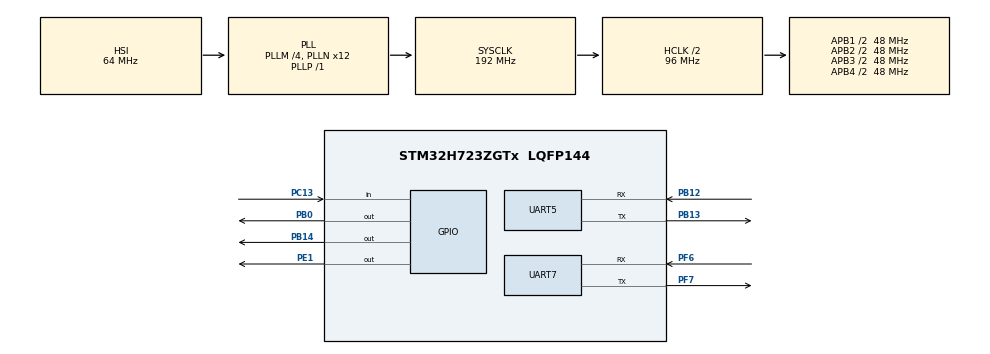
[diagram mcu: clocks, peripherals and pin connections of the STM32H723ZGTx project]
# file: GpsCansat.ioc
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CORTEX_M7.default_mode_Activation=1
Mcu.Family=STM32H7
Mcu.Name=STM32H723ZGTx
Mcu.Package=LQFP144
NUCLEO-H723ZG.BUTTON=1
NUCLEO-H723ZG.LD1=true
NUCLEO-H723ZG.LD2=true
NUCLEO-H723ZG.LD3=true
NUCLEO-H723ZG.VCP=true
NVIC.EXTI15_10_IRQn=true\:0\:0\:false\:false\:true\:false\:true\:true
NVIC.PriorityGroup=NVIC_PRIORITYGROUP_4
NVIC.UART7_IRQn=true\:0\:0\:false\:false\:true\:true\:true\:true
PA13(JTMS/SWDIO).GPIO_Label=SWDIO
PA13(JTMS/SWDIO).Signal=DEBUG_JTMS-SWDIO
PA14(JTCK/SWCLK).GPIO_Label=SWCLK
PA14(JTCK/SWCLK).Signal=DEBUG_JTCK-SWCLK
PB0.Signal=GPIO_Output
PB12.Mode=Asynchronous
PB12.Signal=UART5_RX
PB13.Mode=Asynchronous
PB13.Signal=UART5_TX
PB14.Signal=GPIO_Output
PC13.Signal=GPIO_Input
PC14-OSC32_IN.Signal=RCC_OSC32_IN
PC15-OSC32_OUT.Signal=RCC_OSC32_OUT
PD8.Signal=USART3_TX
PD9.Signal=USART3_RX
PE1.Signal=GPIO_Output
PF6.Mode=Asynchronous
PF6.Signal=UART7_RX
PF7.Mode=Asynchronous
PF7.Signal=UART7_TX
ProjectManager.HeapSize=0x200
ProjectManager.StackSize=0x400
ProjectManager.TargetToolchain=STM32CubeIDE
RCC.ADCFreq_Value=608000000
RCC.APB1Freq_Value=48000000
RCC.APB2Freq_Value=48000000
RCC.APB3Freq_Value=48000000
RCC.APB4Freq_Value=48000000
RCC.CortexFreq_Value=192000000
RCC.D1PPRE=RCC_APB3_DIV2
RCC.D2PPRE1=RCC_APB1_DIV2
RCC.D2PPRE2=RCC_APB2_DIV2
RCC.D3PPRE=RCC_APB4_DIV2
RCC.DIVM1=4
RCC.DIVM2=1
RCC.DIVN1=12
RCC.DIVN2=19
RCC.DIVP1=1
RCC.DIVQ1=4
RCC.HCLKFreq_Value=96000000
RCC.HPRE=RCC_HCLK_DIV2
RCC.HSE_VALUE=8000000
RCC.PLLFRACN=0
RCC.SYSCLKFreq_VALUE=192000000
RCC.SYSCLKSource=RCC_SYSCLKSOURCE_PLLCLK
RCC.USBCLockSelection=RCC_USBCLKSOURCE_HSI48
RCC.USBFreq_Value=48000000
VP_MEMORYMAP_VS_MEMORYMAP.Mode=CurAppReg
VP_NUCLEO-H723ZG_VS_BSP_COMMON.Mode=COMMON
board=NUCLEO-H723ZG

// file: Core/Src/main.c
/* USER CODE BEGIN Header */
/**
  ******************************************************************************
  * @file           : main.c
  * @brief          : Main program body
  ******************************************************************************
  * @attention
  *
  * Copyright (c) 2025 STMicroelectronics.
  * All rights reserved.
  *
  * This software is licensed under terms that can be found in the LICENSE file
  * in the root directory of this software component.
  * If no LICENSE file comes with this software, it is provided AS-IS.
  *
  ******************************************************************************
  */
/* USER CODE END Header */
#include "main.h"
#include "Values.h"

COM_InitTypeDef BspCOMInit;

UART_HandleTypeDef huart5;
UART_HandleTypeDef huart7;

/* USER CODE BEGIN PV */
	uint8_t received[100];
	char latitude[8];
	char longitude[9];
	char altitude[3];
//	char speed[6];
//	char course[6];
	char time[10];
	char NOS[2];
	char Checksum[3], NSIndicator[1], EWIndicator[1], FixQuality[1], AltUnit[1];
	char HDOP[3], GeoidSeparation[4], DGPSAge[4], DGPSStationID[4];
	char GeoidUnit[1];

	char memory[100];
	char result[100];

	HAL_StatusTypeDef status;
	//	char Status[3], MagVarDirection[3],MagneticVariation[10], Date[10];

/* USER CODE END PV */

void SystemClock_Config(void);
static void MPU_Config(void);
static void MX_GPIO_Init(void);
static void MX_UART5_Init(void);
static void MX_UART7_Init(void);

int main(void)
{

  /* MPU Configuration--------------------------------------------------------*/
  MPU_Config();

  /* MCU Configuration--------------------------------------------------------*/

  /* Reset of all peripherals, Initializes the Flash interface and the Systick. */
  HAL_Init();

  /* Configure the system clock */
  SystemClock_Config();

  /* Initialize all configured peripherals */
  MX_GPIO_Init();
  MX_UART5_Init();
  MX_UART7_Init();
  /* USER CODE BEGIN 2 */
  uint8_t received[100];
  char latitude[8];
  char longitude[9];
  char altitude[3];
//  char speed[6];
//  char course[6];
  char time[10];
  char NOS[2];
  char Checksum[3], NSIndicator[1], EWIndicator[1], FixQuality[1], AltUnit[1];
  char HDOP[3], GeoidSeparation[4], DGPSAge[4], DGPSStationID[4];
  char GeoidUnit[1];

  char memory[100];
  char result[100];

  HAL_StatusTypeDef status;
	//	char Status[3], MagVarDirection[3],MagneticVariation[10], Date[10];

  status = HAL_UART_Receive(&huart7, received, 99, 1000);
  received[99] = '\0';  // ensure null-terminated

  char* start = strstr((char*)received, "$GPGGA");
  if (start != NULL)
  {
      char* end = strchr(start, '*');
      size_t length;
      if (end != NULL) {
          length = end - start + 3; // include checksum
      } else {
          length = strcspn(start, "\r\n");
      }

      if (length >= sizeof(memory)) length = sizeof(memory) - 1;
      strncpy(memory, start, length);
      memory[length] = '\0';

      // ✅ Tokenize memory in place
      char *fields[20];
      int i = 0;
      char *token = strtok(memory, ",");
      while (token != NULL && i < 20) {
          fields[i++] = token;
          token = strtok(NULL, ",");
      }

      // ✅ Now directly extract
      // GPGGA sentence format:
      // 0:$GPGGA, 1:UTC time, 2:lat, 3:NS, 4:lon, 5:EW, 6:fix, 7:sats, 8:HDOP, 9:alt, 10:alt unit, 11:geoid, 12:geoid unit, 13:dgps age, 14:dgps id, *checksum

      strcpy(time, fields[1]);
      strcpy(latitude, fields[2]);
      strcpy(NSIndicator, fields[3]);
      strcpy(longitude, fields[4]);
      strcpy(EWIndicator, fields[5]);
      strcpy(FixQuality, fields[6]);
      strcpy(NOS, fields[7]);
      strcpy(HDOP, fields[8]);
      strcpy(altitude, fields[9]);
      strcpy(AltUnit, fields[10]);
      strcpy(GeoidSeparation, fields[11]);
      strcpy(GeoidUnit, fields[12]);
      strcpy(DGPSAge, fields[13]);
      strcpy(DGPSStationID, fields[14]);

      // checksum = after '*'
      char *checksumPtr = strchr(fields[14], '*');
      if (checksumPtr != NULL) {
          strcpy(Checksum, checksumPtr + 1);
      }
  }

//	else if ((start = strstr((char*)received, "$GPRMC")) != NULL)
//	{
//	    char* end = strchr(start, '*');  // end of sentence
//	    size_t length;
//	    if (end != NULL) {
//	        length = end - start + 3;
//	    } else {
//	        length = strcspn(start, "\r\n");
//	    }
//
//	    if (length >= sizeof(memory)) length = sizeof(memory) - 1;
//	    strncpy(memory, start, length);
//	    memory[length] = '\0';
//
//	    getTime(memory, 1);
//	    getStatus(memory, 2);
//	    getLocation(memory, 3, 5);
//	    getIndicator(memory, 4, 6);
//	    getSpeedandCourse(memory, 7, 8);
//	    getDate(memory, 9);
//	    getMagneticVariation(memory, 10);
//	    getMagVarDirection(memory, 11);
//	    getChecksum(memory, 12);
//	}

  /* USER CODE END 2 */

  /* Initialize leds */
  BSP_LED_Init(LED_GREEN);
  BSP_LED_Init(LED_YELLOW);
  BSP_LED_Init(LED_RED);

  /* Initialize USER push-button, will be used to trigger an interrupt each time it's pressed.*/
  BSP_PB_Init(BUTTON_USER, BUTTON_MODE_EXTI);

  /* Initialize COM1 port (115200, 8 bits (7-bit data + 1 stop bit), no parity */
  BspCOMInit.BaudRate   = 115200;
  BspCOMInit.WordLength = COM_WORDLENGTH_8B;
  BspCOMInit.StopBits   = COM_STOPBITS_1;
  BspCOMInit.Parity     = COM_PARITY_NONE;
  BspCOMInit.HwFlowCtl  = COM_HWCONTROL_NONE;
  if (BSP_COM_Init(COM1, &BspCOMInit) != BSP_ERROR_NONE)
  {
    Error_Handler();
  }

  /* Infinite loop */
  while (1)
  {
  }

}

void SystemClock_Config(void)
{
  RCC_OscInitTypeDef RCC_OscInitStruct = {0};
  RCC_ClkInitTypeDef RCC_ClkInitStruct = {0};

  /** Supply configuration update enable
  */
  HAL_PWREx_ConfigSupply(PWR_LDO_SUPPLY);

  /** Configure the main internal regulator output voltage
  */
  __HAL_PWR_VOLTAGESCALING_CONFIG(PWR_REGULATOR_VOLTAGE_SCALE2);

  while(!__HAL_PWR_GET_FLAG(PWR_FLAG_VOSRDY)) {}

  /** Initializes the RCC Oscillators according to the specified parameters
  * in the RCC_OscInitTypeDef structure.
  */
  RCC_OscInitStruct.OscillatorType = RCC_OSCILLATORTYPE_HSI;
  RCC_OscInitStruct.HSIState = RCC_HSI_DIV1;
  RCC_OscInitStruct.HSICalibrationValue = 64;
  RCC_OscInitStruct.PLL.PLLState = RCC_PLL_ON;
  RCC_OscInitStruct.PLL.PLLSource = RCC_PLLSOURCE_HSI;
  RCC_OscInitStruct.PLL.PLLM = 4;
  RCC_OscInitStruct.PLL.PLLN = 12;
  RCC_OscInitStruct.PLL.PLLP = 1;
  RCC_OscInitStruct.PLL.PLLQ = 4;
  RCC_OscInitStruct.PLL.PLLR = 2;
  RCC_OscInitStruct.PLL.PLLRGE = RCC_PLL1VCIRANGE_3;
  RCC_OscInitStruct.PLL.PLLVCOSEL = RCC_PLL1VCOWIDE;
  RCC_OscInitStruct.PLL.PLLFRACN = 0;
  if (HAL_RCC_OscConfig(&RCC_OscInitStruct) != HAL_OK)
  {
    Error_Handler();
  }

  /** Initializes the CPU, AHB and APB buses clocks
  */
  RCC_ClkInitStruct.ClockType = RCC_CLOCKTYPE_HCLK|RCC_CLOCKTYPE_SYSCLK
                              |RCC_CLOCKTYPE_PCLK1|RCC_CLOCKTYPE_PCLK2
                              |RCC_CLOCKTYPE_D3PCLK1|RCC_CLOCKTYPE_D1PCLK1;
  RCC_ClkInitStruct.SYSCLKSource = RCC_SYSCLKSOURCE_PLLCLK;
  RCC_ClkInitStruct.SYSCLKDivider = RCC_SYSCLK_DIV1;
  RCC_ClkInitStruct.AHBCLKDivider = RCC_HCLK_DIV2;
  RCC_ClkInitStruct.APB3CLKDivider = RCC_APB3_DIV2;
  RCC_ClkInitStruct.APB1CLKDivider = RCC_APB1_DIV2;
  RCC_ClkInitStruct.APB2CLKDivider = RCC_APB2_DIV2;
  RCC_ClkInitStruct.APB4CLKDivider = RCC_APB4_DIV2;

  if (HAL_RCC_ClockConfig(&RCC_ClkInitStruct, FLASH_LATENCY_1) != HAL_OK)
  {
    Error_Handler();
  }
}

static void MX_UART5_Init(void)
{

  huart5.Instance = UART5;
  huart5.Init.BaudRate = 115200;
  huart5.Init.WordLength = UART_WORDLENGTH_8B;
  huart5.Init.StopBits = UART_STOPBITS_1;
  huart5.Init.Parity = UART_PARITY_NONE;
  huart5.Init.Mode = UART_MODE_TX_RX;
  huart5.Init.HwFlowCtl = UART_HWCONTROL_NONE;
  huart5.Init.OverSampling = UART_OVERSAMPLING_16;
  huart5.Init.OneBitSampling = UART_ONE_BIT_SAMPLE_DISABLE;
  huart5.Init.ClockPrescaler = UART_PRESCALER_DIV1;
  huart5.AdvancedInit.AdvFeatureInit = UART_ADVFEATURE_NO_INIT;
  if (HAL_UART_Init(&huart5) != HAL_OK)
  {
    Error_Handler();
  }
  if (HAL_UARTEx_SetTxFifoThreshold(&huart5, UART_TXFIFO_THRESHOLD_1_8) != HAL_OK)
  {
    Error_Handler();
  }
  if (HAL_UARTEx_SetRxFifoThreshold(&huart5, UART_RXFIFO_THRESHOLD_1_8) != HAL_OK)
  {
    Error_Handler();
  }
  if (HAL_UARTEx_DisableFifoMode(&huart5) != HAL_OK)
  {
    Error_Handler();
  }

}

static void MX_UART7_Init(void)
{

  huart7.Instance = UART7;
  huart7.Init.BaudRate = 115200;
  huart7.Init.WordLength = UART_WORDLENGTH_8B;
  huart7.Init.StopBits = UART_STOPBITS_1;
  huart7.Init.Parity = UART_PARITY_NONE;
  huart7.Init.Mode = UART_MODE_TX_RX;
  huart7.Init.HwFlowCtl = UART_HWCONTROL_NONE;
  huart7.Init.OverSampling = UART_OVERSAMPLING_16;
  huart7.Init.OneBitSampling = UART_ONE_BIT_SAMPLE_DISABLE;
  huart7.Init.ClockPrescaler = UART_PRESCALER_DIV1;
  huart7.AdvancedInit.AdvFeatureInit = UART_ADVFEATURE_NO_INIT;
  if (HAL_UART_Init(&huart7) != HAL_OK)
  {
    Error_Handler();
  }
  if (HAL_UARTEx_SetTxFifoThreshold(&huart7, UART_TXFIFO_THRESHOLD_1_8) != HAL_OK)
  {
    Error_Handler();
  }
  if (HAL_UARTEx_SetRxFifoThreshold(&huart7, UART_RXFIFO_THRESHOLD_1_8) != HAL_OK)
  {
    Error_Handler();
  }
  if (HAL_UARTEx_DisableFifoMode(&huart7) != HAL_OK)
  {
    Error_Handler();
  }

}

static void MX_GPIO_Init(void)
{

  /* GPIO Ports Clock Enable */
  __HAL_RCC_GPIOC_CLK_ENABLE();
  __HAL_RCC_GPIOF_CLK_ENABLE();
  __HAL_RCC_GPIOB_CLK_ENABLE();
  __HAL_RCC_GPIOA_CLK_ENABLE();

}

 /* MPU Configuration */

void MPU_Config(void)
{
  MPU_Region_InitTypeDef MPU_InitStruct = {0};

  /* Disables the MPU */
  HAL_MPU_Disable();

  /** Initializes and configures the Region and the memory to be protected
  */
  MPU_InitStruct.Enable = MPU_REGION_ENABLE;
  MPU_InitStruct.Number = MPU_REGION_NUMBER0;
  MPU_InitStruct.BaseAddress = 0x0;
  MPU_InitStruct.Size = MPU_REGION_SIZE_4GB;
  MPU_InitStruct.SubRegionDisable = 0x87;
  MPU_InitStruct.TypeExtField = MPU_TEX_LEVEL0;
  MPU_InitStruct.AccessPermission = MPU_REGION_NO_ACCESS;
  MPU_InitStruct.DisableExec = MPU_INSTRUCTION_ACCESS_DISABLE;
  MPU_InitStruct.IsShareable = MPU_ACCESS_SHAREABLE;
  MPU_InitStruct.IsCacheable = MPU_ACCESS_NOT_CACHEABLE;
  MPU_InitStruct.IsBufferable = MPU_ACCESS_NOT_BUFFERABLE;

  HAL_MPU_ConfigRegion(&MPU_InitStruct);
  /* Enables the MPU */
  HAL_MPU_Enable(MPU_PRIVILEGED_DEFAULT);

}

void Error_Handler(void)
{
  __disable_irq();
  while (1)
  {
  }
}
